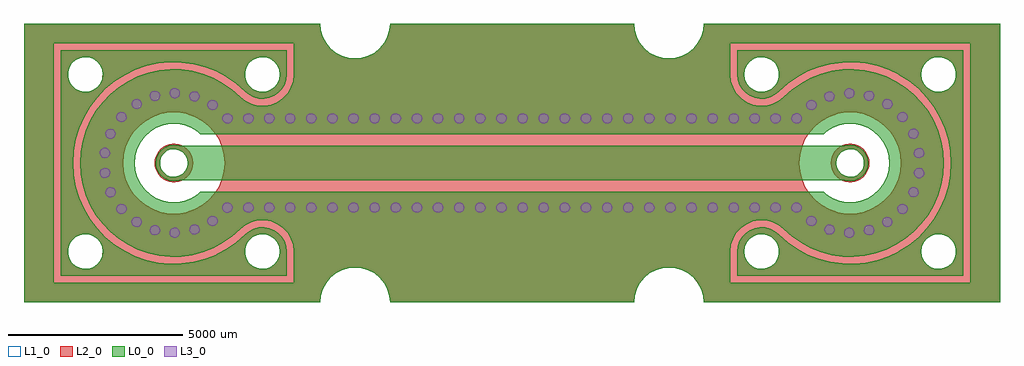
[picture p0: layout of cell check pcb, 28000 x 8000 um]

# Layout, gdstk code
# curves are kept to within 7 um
import gdstk
lib = gdstk.Library(unit=1e-6, precision=1e-09)
def P(c, l, *ps):  # polygons
    for p in ps: c.add(gdstk.Polygon(p, *l))
L0_0 = (0, 0)
L1_0 = (1, 0)
L2_0 = (2, 0)
L3_0 = (3, 0)

check_pcb = lib.new_cell('check pcb')
P(check_pcb, L0_0, [(-3576,3617),(-3669,3444),(-3793,3293),(-3944,3169),(-4117,3076),(-4305,3019),(-4500,3000),(-4695,3019),(-4883,3076),(-5056,3169),(-5207,3293),(-5331,3444),(-5424,3617),(-5481,3805),(-5500,4000),(-14000,4000),(-14000,-3440),(-13140,-3440),(-13140,3440),(-6260,3440),(-6260,2540),(-6281,2349),(-6341,2166),(-6440,2001),(-6571,1860),(-6729,1750),(-6906,1676),(-7096,1642),(-7288,1649),(-7475,1697),(-7647,1783),(-8033,2114),(-8293,2295),(-8573,2445),(-8868,2560),(-9175,2640),(-9489,2684),(-9806,2690),(-10121,2659),(-10431,2591),(-10730,2487),(-11015,2349),(-11282,2178),(-11527,1977),(-11747,1748),(-11938,1496),(-12099,1222),(-12226,932),(-12318,628),(-12373,316),(-12392,0),(-10825,0),(-10806,207),(-10749,406),(-10656,592),(-10531,758),(-10378,898),(-10201,1007),(-10008,1082),(-9804,1120),(-9596,1120),(-9392,1082),(-9199,1007),(-9022,898),(-8948,830),(8948,830),(9022,898),(9199,1007),(9392,1082),(9596,1120),(9804,1120),(10008,1082),(10201,1007),(10378,898),(10531,758),(10656,592),(10749,406),(10806,207),(10825,0),(10806,-207),(10749,-406),(10656,-592),(10531,-758),(10378,-898),(10201,-1007),(10008,-1082),(9804,-1120),(9596,-1120),(9392,-1082),(9199,-1007),(9022,-898),(8948,-830),(-8948,-830),(-9022,-898),(-9199,-1007),(-9392,-1082),(-9596,-1120),(-9804,-1120),(-10008,-1082),(-10201,-1007),(-10378,-898),(-10531,-758),(-10656,-592),(-10749,-406),(-10806,-207),(-10825,0),(-12392,0),(-12373,-316),(-12318,-628),(-12226,-932),(-12099,-1222),(-11938,-1496),(-11747,-1748),(-11527,-1977),(-11282,-2178),(-11015,-2349),(-10730,-2487),(-10431,-2591),(-10121,-2659),(-9806,-2690),(-9489,-2684),(-9175,-2640),(-8868,-2560),(-8573,-2445),(-8293,-2295),(-8033,-2114),(-7647,-1783),(-7475,-1697),(-7288,-1649),(-7096,-1642),(-6906,-1676),(-6729,-1750),(-6571,-1860),(-6440,-2001),(-6341,-2166),(-6281,-2349),(-6260,-2540),(-6260,-3440),(-14000,-3440),(-14000,-4000),(-5500,-4000),(-5481,-3805),(-5424,-3617),(-5331,-3444),(-5207,-3293),(-5056,-3169),(-4883,-3076),(-4695,-3019),(-4500,-3000),(-4305,-3019),(-4117,-3076),(-3944,-3169),(-3793,-3293),(-3669,-3444),(-3576,-3617),(-3519,-3805),(-3500,-4000),(3500,-4000),(3519,-3805),(3576,-3617),(3669,-3444),(3793,-3293),(3944,-3169),(4117,-3076),(4305,-3019),(4500,-3000),(4695,-3019),(4883,-3076),(5056,-3169),(5207,-3293),(5328,-3440),(6260,-3440),(6260,-2540),(6281,-2349),(6341,-2166),(6440,-2001),(6571,-1860),(6729,-1750),(6906,-1676),(7096,-1642),(7288,-1649),(7475,-1697),(7647,-1783),(8033,-2114),(8293,-2295),(8573,-2445),(8868,-2560),(9175,-2640),(9489,-2684),(9806,-2690),(10121,-2659),(10431,-2591),(10730,-2487),(11015,-2349),(11282,-2178),(11527,-1977),(11747,-1748),(11938,-1496),(12099,-1222),(12226,-932),(12318,-628),(12373,-316),(12392,0),(12373,316),(12318,628),(12226,932),(12099,1222),(11938,1496),(11747,1748),(11527,1977),(11282,2178),(11015,2349),(10730,2487),(10431,2591),(10121,2659),(9806,2690),(9489,2684),(9175,2640),(8868,2560),(8573,2445),(8293,2295),(8033,2114),(7647,1783),(7475,1697),(7288,1649),(7096,1642),(6906,1676),(6729,1750),(6571,1860),(6440,2001),(6341,2166),(6281,2349),(6260,2540),(6260,3440),(13140,3440),(13140,-3440),(5328,-3440),(5424,-3617),(5481,-3805),(5500,-4000),(14000,-4000),(14000,4000),(5500,4000),(5481,3805),(5424,3617),(5331,3444),(5207,3293),(5056,3169),(4883,3076),(4695,3019),(4500,3000),(4305,3019),(4117,3076),(3944,3169),(3793,3293),(3669,3444),(3576,3617),(3519,3805),(3500,4000),(-3500,4000),(-3519,3805)],
  [(6523,2249),(6600,2121),(6702,2011),(6825,1926),(6963,1868),(7110,1842),(7260,1847),(7405,1884),(7538,1951),(7910,2271),(8189,2466),(8489,2626),(8806,2751),(9136,2837),(9473,2883),(9814,2890),(10152,2856),(10485,2784),(10807,2672),(11079,2540),(11740,2540),(11759,2675),(11813,2800),(11899,2905),(12010,2984),(12138,3030),(12274,3039),(12407,3011),(12528,2948),(12628,2856),(12699,2739),(12735,2608),(12735,2472),(12699,2341),(12628,2224),(12528,2132),(12407,2069),(12274,2041),(12138,2050),(12010,2096),(11899,2175),(11813,2280),(11759,2405),(11740,2540),(11079,2540),(11400,2340),(11663,2124),(11899,1878),(12105,1607),(12277,1313),(12413,1001),(12512,675),(12572,340),(12592,0),(12572,-340),(12512,-675),(12413,-1001),(12277,-1313),(12105,-1607),(11899,-1878),(11663,-2124),(11400,-2340),(11078,-2540),(11740,-2540),(11759,-2405),(11813,-2280),(11899,-2175),(12010,-2096),(12138,-2050),(12274,-2041),(12407,-2069),(12528,-2132),(12628,-2224),(12699,-2341),(12735,-2472),(12735,-2608),(12699,-2739),(12628,-2856),(12528,-2948),(12407,-3011),(12274,-3039),(12138,-3030),(12010,-2984),(11899,-2905),(11813,-2800),(11759,-2675),(11740,-2540),(11078,-2540),(10807,-2672),(10485,-2784),(10152,-2856),(9814,-2890),(9473,-2883),(9136,-2837),(8806,-2751),(8489,-2626),(8189,-2466),(7910,-2271),(7538,-1951),(7405,-1884),(7260,-1847),(7110,-1842),(6963,-1868),(6825,-1926),(6702,-2011),(6600,-2121),(6523,-2249),(6476,-2391),(6460,-2540),(6660,-2540),(6679,-2405),(6733,-2280),(6819,-2175),(6930,-2096),(7058,-2050),(7194,-2041),(7327,-2069),(7448,-2132),(7548,-2224),(7619,-2341),(7655,-2472),(7655,-2608),(7619,-2739),(7548,-2856),(7448,-2948),(7327,-3011),(7194,-3039),(7058,-3030),(6930,-2984),(6819,-2905),(6733,-2800),(6679,-2675),(6660,-2540),(6460,-2540),(6460,-3240),(12940,-3240),(12940,3240),(6460,3240),(6460,2540),(6660,2540),(6679,2675),(6733,2800),(6819,2905),(6930,2984),(7058,3030),(7194,3039),(7327,3011),(7448,2948),(7548,2856),(7619,2739),(7655,2608),(7655,2472),(7619,2341),(7548,2224),(7448,2132),(7327,2069),(7194,2041),(7058,2050),(6930,2096),(6819,2175),(6733,2280),(6679,2405),(6660,2540),(6460,2540),(6476,2391)],
  [(-7910,2271),(-7538,1951),(-7405,1884),(-7260,1847),(-7110,1842),(-6963,1868),(-6825,1926),(-6702,2011),(-6600,2121),(-6523,2249),(-6476,2391),(-6460,2540),(-6460,3240),(-12940,3240),(-12940,2472),(-12735,2472),(-12735,2608),(-12699,2739),(-12628,2856),(-12528,2948),(-12407,3011),(-12274,3039),(-12138,3030),(-12010,2984),(-11899,2905),(-11813,2800),(-11759,2675),(-11740,2540),(-11759,2405),(-11813,2280),(-11899,2175),(-12010,2096),(-12138,2050),(-12274,2041),(-12407,2069),(-12528,2132),(-12628,2224),(-12699,2341),(-12735,2472),(-12940,2472),(-12940,-2608),(-12735,-2608),(-12735,-2472),(-12699,-2341),(-12628,-2224),(-12528,-2132),(-12407,-2069),(-12274,-2041),(-12138,-2050),(-12010,-2096),(-11899,-2175),(-11813,-2280),(-11759,-2405),(-11740,-2540),(-11759,-2675),(-11813,-2800),(-11899,-2905),(-12010,-2984),(-12138,-3030),(-12274,-3039),(-12407,-3011),(-12528,-2948),(-12628,-2856),(-12699,-2739),(-12735,-2608),(-12940,-2608),(-12940,-3240),(-6460,-3240),(-6460,-2540),(-6476,-2391),(-6523,-2249),(-6600,-2121),(-6702,-2011),(-6825,-1926),(-6963,-1868),(-7110,-1842),(-7260,-1847),(-7405,-1884),(-7538,-1951),(-7910,-2271),(-8189,-2466),(-8456,-2608),(-7655,-2608),(-7655,-2472),(-7619,-2341),(-7548,-2224),(-7448,-2132),(-7327,-2069),(-7194,-2041),(-7058,-2050),(-6930,-2096),(-6819,-2175),(-6733,-2280),(-6679,-2405),(-6660,-2540),(-6679,-2675),(-6733,-2800),(-6819,-2905),(-6930,-2984),(-7058,-3030),(-7194,-3039),(-7327,-3011),(-7448,-2948),(-7548,-2856),(-7619,-2739),(-7655,-2608),(-8456,-2608),(-8806,-2751),(-9136,-2837),(-9473,-2883),(-9814,-2890),(-10152,-2856),(-10485,-2784),(-10807,-2672),(-11113,-2523),(-11400,-2340),(-11663,-2124),(-11899,-1878),(-12105,-1607),(-12277,-1313),(-12413,-1001),(-12512,-675),(-12572,-340),(-12592,0),(-12572,340),(-12512,675),(-12413,1001),(-12277,1313),(-12105,1607),(-11899,1878),(-11663,2124),(-11400,2340),(-11113,2523),(-10807,2672),(-10485,2784),(-10152,2856),(-9814,2890),(-9473,2883),(-9136,2837),(-8806,2751),(-8489,2626),(-8200,2472),(-7655,2472),(-7655,2608),(-7619,2739),(-7548,2856),(-7448,2948),(-7327,3011),(-7194,3039),(-7058,3030),(-6930,2984),(-6819,2905),(-6733,2800),(-6679,2675),(-6660,2540),(-6679,2405),(-6733,2280),(-6819,2175),(-6930,2096),(-7058,2050),(-7194,2041),(-7327,2069),(-7448,2132),(-7548,2224),(-7619,2341),(-7655,2472),(-8200,2472)],
  [(-10155,-263),(-10071,-371),(-9963,-455),(-9836,-507),(-9700,-525),(-9547,-500),(9547,-500),(9700,-525),(9836,-507),(9963,-455),(10071,-371),(10155,-263),(10207,-136),(10225,0),(10207,136),(10155,263),(10071,371),(9963,455),(9836,507),(9700,525),(9547,500),(-9547,500),(-9700,525),(-9836,507),(-9963,455),(-10071,371),(-10155,263),(-10207,136),(-10225,0),(-10217,-60),(-10096,-60),(-10096,60),(-10060,174),(-9993,272),(-9900,346),(-9789,390),(-9670,399),(-9554,372),(-9451,313),(-9370,225),(-9318,118),(-9300,0),(9300,0),(9318,118),(9370,225),(9451,313),(9554,372),(9670,399),(9789,390),(9900,346),(9993,272),(10060,174),(10096,60),(10096,-60),(10060,-174),(9993,-272),(9900,-346),(9789,-390),(9670,-399),(9554,-372),(9451,-313),(9370,-225),(9318,-118),(9300,0),(-9300,0),(-9318,-118),(-9370,-225),(-9451,-313),(-9554,-372),(-9670,-399),(-9789,-390),(-9900,-346),(-9993,-272),(-10060,-174),(-10096,-60),(-10217,-60),(-10207,-136)])
P(check_pcb, L1_0, [(3500,-4000),(3519,-3805),(3576,-3617),(3669,-3444),(3793,-3293),(3944,-3169),(4117,-3076),(4305,-3019),(4500,-3000),(4695,-3019),(4883,-3076),(5056,-3169),(5207,-3293),(5331,-3444),(5424,-3617),(5481,-3805),(5500,-4000),(14000,-4000),(14000,4000),(5500,4000),(5481,3805),(5424,3617),(5331,3444),(5207,3293),(5056,3169),(4883,3076),(4695,3019),(4500,3000),(4305,3019),(4117,3076),(3944,3169),(3793,3293),(3669,3444),(3576,3617),(3519,3805),(3500,4000),(-3500,4000),(-3519,3805),(-3576,3617),(-3669,3444),(-3793,3293),(-3944,3169),(-4117,3076),(-4305,3019),(-4500,3000),(-4695,3019),(-4883,3076),(-5056,3169),(-5207,3293),(-5331,3444),(-5424,3617),(-5481,3805),(-5500,4000),(-14000,4000),(-14000,2472),(-12735,2472),(-12735,2608),(-12699,2739),(-12628,2856),(-12528,2948),(-12407,3011),(-12274,3039),(-12138,3030),(-12010,2984),(-11899,2905),(-11813,2800),(-11759,2675),(-11740,2540),(-11750,2472),(-7655,2472),(-7655,2608),(-7619,2739),(-7548,2856),(-7448,2948),(-7327,3011),(-7194,3039),(-7058,3030),(-6930,2984),(-6819,2905),(-6733,2800),(-6679,2675),(-6660,2540),(6660,2540),(6679,2675),(6733,2800),(6819,2905),(6930,2984),(7058,3030),(7194,3039),(7327,3011),(7448,2948),(7548,2856),(7619,2739),(7655,2608),(7655,2540),(11740,2540),(11759,2675),(11813,2800),(11899,2905),(12010,2984),(12138,3030),(12274,3039),(12407,3011),(12528,2948),(12628,2856),(12699,2739),(12735,2608),(12735,2472),(12699,2341),(12628,2224),(12528,2132),(12407,2069),(12274,2041),(12138,2050),(12010,2096),(11899,2175),(11813,2280),(11759,2405),(11740,2540),(7655,2540),(7655,2472),(7619,2341),(7548,2224),(7448,2132),(7327,2069),(7194,2041),(7058,2050),(6930,2096),(6819,2175),(6733,2280),(6679,2405),(6660,2540),(-6660,2540),(-6679,2405),(-6733,2280),(-6819,2175),(-6930,2096),(-7058,2050),(-7194,2041),(-7327,2069),(-7448,2132),(-7548,2224),(-7619,2341),(-7655,2472),(-11750,2472),(-11759,2405),(-11813,2280),(-11899,2175),(-12010,2096),(-12138,2050),(-12274,2041),(-12407,2069),(-12528,2132),(-12628,2224),(-12699,2341),(-12735,2472),(-14000,2472),(-14000,-60),(-10096,-60),(-10096,60),(-10060,174),(-9993,272),(-9900,346),(-9789,390),(-9670,399),(-9554,372),(-9451,313),(-9370,225),(-9318,118),(-9300,0),(9300,0),(9318,118),(9370,225),(9451,313),(9554,372),(9670,399),(9789,390),(9900,346),(9993,272),(10060,174),(10096,60),(10096,-60),(10060,-174),(9993,-272),(9900,-346),(9789,-390),(9670,-399),(9554,-372),(9451,-313),(9370,-225),(9318,-118),(9300,0),(-9300,0),(-9318,-118),(-9370,-225),(-9451,-313),(-9554,-372),(-9670,-399),(-9789,-390),(-9900,-346),(-9993,-272),(-10060,-174),(-10096,-60),(-14000,-60),(-14000,-2608),(-12735,-2608),(-12735,-2472),(-12699,-2341),(-12628,-2224),(-12528,-2132),(-12407,-2069),(-12274,-2041),(-12138,-2050),(-12010,-2096),(-11899,-2175),(-11813,-2280),(-11759,-2405),(-11740,-2540),(-11750,-2608),(-7655,-2608),(-7655,-2472),(-7619,-2341),(-7548,-2224),(-7448,-2132),(-7327,-2069),(-7194,-2041),(-7058,-2050),(-6930,-2096),(-6819,-2175),(-6733,-2280),(-6679,-2405),(-6660,-2540),(6660,-2540),(6679,-2405),(6733,-2280),(6819,-2175),(6930,-2096),(7058,-2050),(7194,-2041),(7327,-2069),(7448,-2132),(7548,-2224),(7619,-2341),(7655,-2472),(7655,-2540),(11740,-2540),(11759,-2405),(11813,-2280),(11899,-2175),(12010,-2096),(12138,-2050),(12274,-2041),(12407,-2069),(12528,-2132),(12628,-2224),(12699,-2341),(12735,-2472),(12735,-2608),(12699,-2739),(12628,-2856),(12528,-2948),(12407,-3011),(12274,-3039),(12138,-3030),(12010,-2984),(11899,-2905),(11813,-2800),(11759,-2675),(11740,-2540),(7655,-2540),(7655,-2608),(7619,-2739),(7548,-2856),(7448,-2948),(7327,-3011),(7194,-3039),(7058,-3030),(6930,-2984),(6819,-2905),(6733,-2800),(6679,-2675),(6660,-2540),(-6660,-2540),(-6679,-2675),(-6733,-2800),(-6819,-2905),(-6930,-2984),(-7058,-3030),(-7194,-3039),(-7327,-3011),(-7448,-2948),(-7548,-2856),(-7619,-2739),(-7655,-2608),(-11750,-2608),(-11759,-2675),(-11813,-2800),(-11899,-2905),(-12010,-2984),(-12138,-3030),(-12274,-3039),(-12407,-3011),(-12528,-2948),(-12628,-2856),(-12699,-2739),(-12735,-2608),(-14000,-2608),(-14000,-4000),(-5500,-4000),(-5481,-3805),(-5424,-3617),(-5331,-3444),(-5207,-3293),(-5056,-3169),(-4883,-3076),(-4695,-3019),(-4500,-3000),(-4305,-3019),(-4117,-3076),(-3944,-3169),(-3793,-3293),(-3669,-3444),(-3576,-3617),(-3519,-3805),(-3500,-4000)])
P(check_pcb, L2_0, [(3500,-4000),(3519,-3805),(3576,-3617),(3669,-3444),(3793,-3293),(3944,-3169),(4117,-3076),(4305,-3019),(4500,-3000),(4695,-3019),(4883,-3076),(5056,-3169),(5207,-3293),(5331,-3444),(5424,-3617),(5481,-3805),(5500,-4000),(14000,-4000),(14000,4000),(5500,4000),(5481,3805),(5424,3617),(5331,3444),(5207,3293),(5056,3169),(4883,3076),(4695,3019),(4500,3000),(4305,3019),(4117,3076),(3944,3169),(3793,3293),(3669,3444),(3576,3617),(3519,3805),(3500,4000),(-3500,4000),(-3519,3805),(-3576,3617),(-3669,3444),(-3793,3293),(-3944,3169),(-4117,3076),(-4305,3019),(-4500,3000),(-4695,3019),(-4883,3076),(-5056,3169),(-5207,3293),(-5331,3444),(-5424,3617),(-5481,3805),(-5500,4000),(-14000,4000),(-14000,2472),(-12735,2472),(-12735,2608),(-12699,2739),(-12628,2856),(-12528,2948),(-12407,3011),(-12274,3039),(-12138,3030),(-12010,2984),(-11899,2905),(-11813,2800),(-11759,2675),(-11740,2540),(-11750,2472),(-7655,2472),(-7655,2608),(-7619,2739),(-7548,2856),(-7448,2948),(-7327,3011),(-7194,3039),(-7058,3030),(-6930,2984),(-6819,2905),(-6733,2800),(-6679,2675),(-6660,2540),(6660,2540),(6679,2675),(6733,2800),(6819,2905),(6930,2984),(7058,3030),(7194,3039),(7327,3011),(7448,2948),(7548,2856),(7619,2739),(7655,2608),(7655,2540),(11740,2540),(11759,2675),(11813,2800),(11899,2905),(12010,2984),(12138,3030),(12274,3039),(12407,3011),(12528,2948),(12628,2856),(12699,2739),(12735,2608),(12735,2472),(12699,2341),(12628,2224),(12528,2132),(12407,2069),(12274,2041),(12138,2050),(12010,2096),(11899,2175),(11813,2280),(11759,2405),(11740,2540),(7655,2540),(7655,2472),(7619,2341),(7548,2224),(7448,2132),(7327,2069),(7194,2041),(7058,2050),(6930,2096),(6819,2175),(6733,2280),(6679,2405),(6660,2540),(-6660,2540),(-6679,2405),(-6733,2280),(-6819,2175),(-6930,2096),(-7058,2050),(-7194,2041),(-7327,2069),(-7448,2132),(-7548,2224),(-7619,2341),(-7655,2472),(-11750,2472),(-11759,2405),(-11813,2280),(-11899,2175),(-12010,2096),(-12138,2050),(-12274,2041),(-12407,2069),(-12528,2132),(-12628,2224),(-12699,2341),(-12735,2472),(-14000,2472),(-14000,0),(-11155,0),(-11135,239),(-11076,472),(-10980,693),(-10848,894),(-10685,1070),(-10496,1218),(-10284,1332),(-10057,1410),(-9820,1450),(-9580,1450),(-9343,1410),(-9116,1332),(-8904,1218),(-8715,1070),(-8552,894),(-8420,693),(-8324,472),(-8265,239),(-8245,0),(8245,0),(8265,239),(8324,472),(8420,693),(8552,894),(8715,1070),(8904,1218),(9116,1332),(9343,1410),(9580,1450),(9820,1450),(10057,1410),(10284,1332),(10496,1218),(10685,1070),(10848,894),(10980,693),(11076,472),(11135,239),(11155,0),(11135,-239),(11076,-472),(10980,-693),(10848,-894),(10685,-1070),(10496,-1218),(10284,-1332),(10057,-1410),(9820,-1450),(9580,-1450),(9343,-1410),(9116,-1332),(8904,-1218),(8715,-1070),(8552,-894),(8420,-693),(8324,-472),(8265,-239),(8245,0),(-8245,0),(-8265,-239),(-8324,-472),(-8420,-693),(-8552,-894),(-8715,-1070),(-8904,-1218),(-9116,-1332),(-9343,-1410),(-9580,-1450),(-9820,-1450),(-10057,-1410),(-10284,-1332),(-10496,-1218),(-10685,-1070),(-10848,-894),(-10980,-693),(-11076,-472),(-11135,-239),(-11155,0),(-14000,0),(-14000,-2608),(-12735,-2608),(-12735,-2472),(-12699,-2341),(-12628,-2224),(-12528,-2132),(-12407,-2069),(-12274,-2041),(-12138,-2050),(-12010,-2096),(-11899,-2175),(-11813,-2280),(-11759,-2405),(-11740,-2540),(-11750,-2608),(-7655,-2608),(-7655,-2472),(-7619,-2341),(-7548,-2224),(-7448,-2132),(-7327,-2069),(-7194,-2041),(-7058,-2050),(-6930,-2096),(-6819,-2175),(-6733,-2280),(-6679,-2405),(-6660,-2540),(6660,-2540),(6679,-2405),(6733,-2280),(6819,-2175),(6930,-2096),(7058,-2050),(7194,-2041),(7327,-2069),(7448,-2132),(7548,-2224),(7619,-2341),(7655,-2472),(7655,-2540),(11740,-2540),(11759,-2405),(11813,-2280),(11899,-2175),(12010,-2096),(12138,-2050),(12274,-2041),(12407,-2069),(12528,-2132),(12628,-2224),(12699,-2341),(12735,-2472),(12735,-2608),(12699,-2739),(12628,-2856),(12528,-2948),(12407,-3011),(12274,-3039),(12138,-3030),(12010,-2984),(11899,-2905),(11813,-2800),(11759,-2675),(11740,-2540),(7655,-2540),(7655,-2608),(7619,-2739),(7548,-2856),(7448,-2948),(7327,-3011),(7194,-3039),(7058,-3030),(6930,-2984),(6819,-2905),(6733,-2800),(6679,-2675),(6660,-2540),(-6660,-2540),(-6679,-2675),(-6733,-2800),(-6819,-2905),(-6930,-2984),(-7058,-3030),(-7194,-3039),(-7327,-3011),(-7448,-2948),(-7548,-2856),(-7619,-2739),(-7655,-2608),(-11750,-2608),(-11759,-2675),(-11813,-2800),(-11899,-2905),(-12010,-2984),(-12138,-3030),(-12274,-3039),(-12407,-3011),(-12528,-2948),(-12628,-2856),(-12699,-2739),(-12735,-2608),(-14000,-2608),(-14000,-4000),(-5500,-4000),(-5481,-3805),(-5424,-3617),(-5331,-3444),(-5207,-3293),(-5056,-3169),(-4883,-3076),(-4695,-3019),(-4500,-3000),(-4305,-3019),(-4117,-3076),(-3944,-3169),(-3793,-3293),(-3669,-3444),(-3576,-3617),(-3519,-3805),(-3500,-4000)],
  [(9180,-179),(9216,-262),(9266,-338),(9327,-405),(9479,-504),(9565,-533),(9655,-548),(9745,-548),(9835,-533),(9921,-504),(10073,-405),(10134,-338),(10184,-262),(10220,-179),(10242,-91),(10250,0),(10242,91),(10220,179),(10184,262),(10134,338),(10073,405),(9921,504),(9835,533),(9745,548),(9655,548),(9565,533),(9479,504),(9327,405),(9266,338),(9216,262),(9180,179),(9158,91),(9150,0),(9300,0),(9318,118),(9370,225),(9451,313),(9554,372),(9670,399),(9789,390),(9900,346),(9993,272),(10060,174),(10096,60),(10096,-60),(10060,-174),(9993,-272),(9900,-346),(9789,-390),(9670,-399),(9554,-372),(9451,-313),(9370,-225),(9318,-118),(9300,0),(9150,0),(9158,-91)],
  [(-10220,-179),(-10184,-262),(-10134,-338),(-10073,-405),(-9921,-504),(-9835,-533),(-9745,-548),(-9655,-548),(-9565,-533),(-9479,-504),(-9327,-405),(-9266,-338),(-9216,-262),(-9180,-179),(-9158,-91),(-9150,0),(-9158,91),(-9180,179),(-9216,262),(-9266,338),(-9327,405),(-9479,504),(-9565,533),(-9655,548),(-9745,548),(-9835,533),(-9921,504),(-10073,405),(-10134,338),(-10184,262),(-10220,179),(-10242,91),(-10244,-60),(-10096,-60),(-10096,60),(-10060,174),(-9993,272),(-9900,346),(-9789,390),(-9670,399),(-9554,372),(-9451,313),(-9370,225),(-9318,118),(-9300,0),(-9318,-118),(-9370,-225),(-9451,-313),(-9554,-372),(-9670,-399),(-9789,-390),(-9900,-346),(-9993,-272),(-10060,-174),(-10096,-60),(-10244,-60)])
P(check_pcb, L3_0, [(9750,1870),(9802,1920),(9824,1988),(9813,2059),(9769,2116),(9704,2147),(9633,2144),(9571,2108),(9532,2047),(9527,1975),(9555,1909),(9611,1864),(9681,1850)],
  [(-9603,1868),(-9550,1917),(-9526,1984),(-9535,2056),(-9577,2114),(-9641,2146),(-9713,2145),(-9776,2110),(-9816,2051),(-9823,1979),(-9797,1912),(-9742,1866),(-9672,1850)],
  [(10343,1812),(10384,1871),(10393,1942),(10367,2010),(10314,2057),(10244,2075),(10174,2058),(10120,2010),(10095,1943),(10103,1872),(10144,1813),(10207,1779),(10279,1779)],
  [(-10198,1782),(-10137,1819),(-10100,1881),(-10096,1952),(-10126,2018),(-10183,2062),(-10253,2074),(-10322,2053),(-10372,2002),(-10393,1933),(-10380,1863),(-10336,1806),(-10270,1777)],
  [(-9012,1795),(-8969,1853),(-8959,1924),(-8982,1992),(-9035,2041),(-9104,2060),(-9174,2045),(-9229,1999),(-9256,1933),(-9250,1861),(-9211,1801),(-9148,1766),(-9076,1764)],
  [(9157,1769),(9217,1807),(9252,1870),(9255,1942),(9223,2006),(9166,2049),(9095,2060),(9027,2036),(8977,1984),(8958,1915),(8973,1845),(9019,1790),(9085,1762)],
  [(-10684,1567),(-10636,1620),(-10618,1690),(-10634,1759),(-10681,1814),(-10748,1840),(-10819,1832),(-10879,1792),(-10913,1729),(-10914,1657),(-10881,1593),(-10822,1551),(-10751,1542)],
  [(10831,1555),(10887,1600),(10916,1666),(10910,1737),(10873,1798),(10811,1835),(10739,1838),(10674,1808),(10630,1751),(10618,1680),(10640,1612),(10692,1562),(10760,1541)],
  [(8677,1541),(8724,1596),(8740,1666),(8722,1735),(8673,1788),(8606,1813),(8535,1803),(8476,1761),(8444,1697),(8445,1626),(8479,1563),(8539,1523),(8610,1515)],
  [(-8530,1526),(-8473,1569),(-8443,1635),(-8446,1706),(-8482,1768),(-8543,1806),(-8615,1812),(-8681,1783),(-8726,1727),(-8740,1657),(-8719,1588),(-8669,1536),(-8601,1514)],
  [(11292,1197),(11338,1252),(11354,1322),(11335,1391),(11286,1444),(11218,1468),(11147,1457),(11089,1415),(11057,1351),(11059,1279),(11094,1216),(11154,1177),(11226,1170)],
  [(-11146,1180),(-11088,1223),(-11057,1288),(-11060,1359),(-11095,1422),(-11156,1460),(-11227,1467),(-11294,1439),(-11339,1383),(-11354,1313),(-11334,1244),(-11285,1192),(-11217,1169)],
  [(-8078,1157),(-8030,1210),(-8013,1280),(-8030,1350),(-8078,1403),(-8145,1429),(-8216,1420),(-8276,1379),(-8309,1316),(-8309,1244),(-8276,1181),(-8216,1140),(-8145,1131)],
  [(-7478,1157),(-7430,1210),(-7413,1280),(-7430,1350),(-7478,1403),(-7545,1429),(-7616,1420),(-7676,1379),(-7709,1316),(-7709,1244),(-7676,1181),(-7616,1140),(-7545,1131)],
  [(-6878,1157),(-6830,1210),(-6813,1280),(-6830,1350),(-6878,1403),(-6945,1429),(-7016,1420),(-7076,1379),(-7109,1316),(-7109,1244),(-7076,1181),(-7016,1140),(-6945,1131)],
  [(-6278,1157),(-6230,1210),(-6213,1280),(-6230,1350),(-6278,1403),(-6345,1429),(-6416,1420),(-6476,1379),(-6509,1316),(-6509,1244),(-6476,1181),(-6416,1140),(-6345,1131)],
  [(7616,1140),(7676,1181),(7709,1244),(7709,1316),(7676,1379),(7616,1420),(7545,1429),(7478,1403),(7430,1350),(7413,1280),(7430,1210),(7478,1157),(7545,1131)],
  [(7016,1140),(7076,1181),(7109,1244),(7109,1316),(7076,1379),(7016,1420),(6945,1429),(6878,1403),(6830,1350),(6813,1280),(6830,1210),(6878,1157),(6945,1131)],
  [(6416,1140),(6476,1181),(6509,1244),(6509,1316),(6476,1379),(6416,1420),(6345,1429),(6278,1403),(6230,1350),(6213,1280),(6230,1210),(6278,1157),(6345,1131)],
  [(-4460,1157),(-4412,1210),(-4395,1280),(-4412,1350),(-4460,1403),(-4527,1429),(-4598,1420),(-4657,1379),(-4691,1316),(-4691,1244),(-4657,1181),(-4598,1140),(-4527,1131)],
  [(3419,1157),(3466,1210),(3484,1280),(3466,1350),(3419,1403),(3352,1429),(3280,1420),(3221,1379),(3188,1316),(3188,1244),(3221,1181),(3280,1140),(3352,1131)],
  [(4025,1157),(4072,1210),(4090,1280),(4072,1350),(4025,1403),(3958,1429),(3886,1420),(3827,1379),(3794,1316),(3794,1244),(3827,1181),(3886,1140),(3958,1131)],
  [(4631,1157),(4678,1210),(4696,1280),(4678,1350),(4631,1403),(4564,1429),(4492,1420),(4433,1379),(4400,1316),(4400,1244),(4433,1181),(4492,1140),(4564,1131)],
  [(5237,1157),(5284,1210),(5302,1280),(5284,1350),(5237,1403),(5170,1429),(5098,1420),(5039,1379),(5006,1316),(5006,1244),(5039,1181),(5098,1140),(5170,1131)],
  [(5843,1157),(5891,1210),(5908,1280),(5891,1350),(5843,1403),(5776,1429),(5705,1420),(5645,1379),(5612,1316),(5612,1244),(5645,1181),(5705,1140),(5776,1131)],
  [(2207,1157),(2254,1210),(2271,1280),(2254,1350),(2207,1403),(2139,1429),(2068,1420),(2009,1379),(1976,1316),(1976,1244),(2009,1181),(2068,1140),(2139,1131)],
  [(-3248,1157),(-3200,1210),(-3183,1280),(-3200,1350),(-3248,1403),(-3315,1429),(-3386,1420),(-3445,1379),(-3479,1316),(-3479,1244),(-3445,1181),(-3386,1140),(-3315,1131)],
  [(-3854,1157),(-3806,1210),(-3789,1280),(-3806,1350),(-3854,1403),(-3921,1429),(-3992,1420),(-4051,1379),(-4085,1316),(-4085,1244),(-4051,1181),(-3992,1140),(-3921,1131)],
  [(-5066,1157),(-5018,1210),(-5001,1280),(-5018,1350),(-5066,1403),(-5133,1429),(-5204,1420),(-5263,1379),(-5297,1316),(-5297,1244),(-5263,1181),(-5204,1140),(-5133,1131)],
  [(-5672,1157),(-5624,1210),(-5607,1280),(-5624,1350),(-5672,1403),(-5739,1429),(-5810,1420),(-5869,1379),(-5903,1316),(-5903,1244),(-5869,1181),(-5810,1140),(-5739,1131)],
  [(-1430,1157),(-1382,1210),(-1365,1280),(-1382,1350),(-1430,1403),(-1497,1429),(-1568,1420),(-1627,1379),(-1661,1316),(-1661,1244),(-1627,1181),(-1568,1140),(-1497,1131)],
  [(-824,1157),(-776,1210),(-759,1280),(-776,1350),(-824,1403),(-891,1429),(-962,1420),(-1021,1379),(-1054,1316),(-1054,1244),(-1021,1181),(-962,1140),(-891,1131)],
  [(-2036,1157),(-1988,1210),(-1971,1280),(-1988,1350),(-2036,1403),(-2103,1429),(-2174,1420),(-2233,1379),(-2267,1316),(-2267,1244),(-2233,1181),(-2174,1140),(-2103,1131)],
  [(-2642,1157),(-2594,1210),(-2577,1280),(-2594,1350),(-2642,1403),(-2709,1429),(-2780,1420),(-2839,1379),(-2873,1316),(-2873,1244),(-2839,1181),(-2780,1140),(-2709,1131)],
  [(-218,1157),(-170,1210),(-153,1280),(-170,1350),(-218,1403),(-285,1429),(-356,1420),(-415,1379),(-448,1316),(-448,1244),(-415,1181),(-356,1140),(-285,1131)],
  [(388,1157),(436,1210),(453,1280),(436,1350),(388,1403),(321,1429),(250,1420),(191,1379),(158,1316),(158,1244),(191,1181),(250,1140),(321,1131)],
  [(995,1157),(1042,1210),(1059,1280),(1042,1350),(995,1403),(927,1429),(856,1420),(797,1379),(764,1316),(764,1244),(797,1181),(856,1140),(927,1131)],
  [(1601,1157),(1648,1210),(1665,1280),(1648,1350),(1601,1403),(1533,1429),(1462,1420),(1403,1379),(1370,1316),(1370,1244),(1403,1181),(1462,1140),(1533,1131)],
  [(2813,1157),(2860,1210),(2877,1280),(2860,1350),(2813,1403),(2746,1429),(2674,1420),(2615,1379),(2582,1316),(2582,1244),(2615,1181),(2674,1140),(2746,1131)],
  [(8225,1143),(8281,1188),(8311,1253),(8306,1325),(8269,1386),(8208,1423),(8136,1428),(8071,1398),(8026,1341),(8014,1271),(8035,1202),(8086,1152),(8154,1130)],
  [(-11421,721),(-11378,778),(-11367,849),(-11390,917),(-11442,967),(-11511,987),(-11581,973),(-11636,927),(-11664,861),(-11659,789),(-11620,729),(-11558,693),(-11486,690)],
  [(11567,696),(11627,735),(11661,798),(11663,870),(11631,934),(11573,976),(11501,986),(11434,962),(11385,910),(11366,840),(11382,770),(11429,715),(11495,689)],
  [(11756,158),(11807,208),(11829,277),(11817,348),(11773,404),(11707,434),(11636,430),(11574,394),(11536,333),(11532,261),(11561,195),(11617,151),(11687,137)],
  [(-11609,155),(-11555,203),(-11530,270),(-11539,341),(-11581,400),(-11644,433),(-11716,432),(-11780,398),(-11820,339),(-11828,268),(-11802,201),(-11748,154),(-11678,137)],
  [(-11636,-430),(-11574,-394),(-11536,-333),(-11532,-261),(-11561,-195),(-11617,-151),(-11687,-137),(-11756,-158),(-11807,-208),(-11829,-277),(-11817,-348),(-11773,-404),(-11707,-434)],
  [(11716,-432),(11780,-398),(11820,-339),(11828,-268),(11802,-201),(11748,-154),(11678,-137),(11609,-155),(11555,-203),(11530,-270),(11539,-341),(11581,-400),(11644,-433)],
  [(-11434,-962),(-11385,-910),(-11366,-840),(-11382,-770),(-11429,-715),(-11495,-689),(-11567,-696),(-11627,-735),(-11661,-798),(-11663,-870),(-11631,-934),(-11573,-976),(-11501,-986)],
  [(11581,-973),(11636,-927),(11664,-861),(11659,-789),(11620,-729),(11558,-693),(11486,-690),(11421,-721),(11378,-778),(11367,-849),(11390,-917),(11442,-967),(11511,-987)],
  [(-8071,-1398),(-8026,-1341),(-8014,-1271),(-8035,-1202),(-8086,-1152),(-8154,-1130),(-8225,-1143),(-8281,-1188),(-8311,-1253),(-8306,-1325),(-8269,-1386),(-8208,-1423),(-8136,-1428)],
  [(7016,-1420),(7076,-1379),(7109,-1316),(7109,-1244),(7076,-1181),(7016,-1140),(6945,-1131),(6878,-1157),(6830,-1210),(6813,-1280),(6830,-1350),(6878,-1403),(6945,-1429)],
  [(8216,-1420),(8276,-1379),(8309,-1316),(8309,-1244),(8276,-1181),(8216,-1140),(8145,-1131),(8078,-1157),(8030,-1210),(8013,-1280),(8030,-1350),(8078,-1403),(8145,-1429)],
  [(6416,-1420),(6476,-1379),(6509,-1316),(6509,-1244),(6476,-1181),(6416,-1140),(6345,-1131),(6278,-1157),(6230,-1210),(6213,-1280),(6230,-1350),(6278,-1403),(6345,-1429)],
  [(-7478,-1403),(-7430,-1350),(-7413,-1280),(-7430,-1210),(-7478,-1157),(-7545,-1131),(-7616,-1140),(-7676,-1181),(-7709,-1244),(-7709,-1316),(-7676,-1379),(-7616,-1420),(-7545,-1429)],
  [(-6878,-1403),(-6830,-1350),(-6813,-1280),(-6830,-1210),(-6878,-1157),(-6945,-1131),(-7016,-1140),(-7076,-1181),(-7109,-1244),(-7109,-1316),(-7076,-1379),(-7016,-1420),(-6945,-1429)],
  [(-6278,-1403),(-6230,-1350),(-6213,-1280),(-6230,-1210),(-6278,-1157),(-6345,-1131),(-6416,-1140),(-6476,-1181),(-6509,-1244),(-6509,-1316),(-6476,-1379),(-6416,-1420),(-6345,-1429)],
  [(7616,-1420),(7676,-1379),(7709,-1316),(7709,-1244),(7676,-1181),(7616,-1140),(7545,-1131),(7478,-1157),(7430,-1210),(7413,-1280),(7430,-1350),(7478,-1403),(7545,-1429)],
  [(-218,-1403),(-170,-1350),(-153,-1280),(-170,-1210),(-218,-1157),(-285,-1131),(-356,-1140),(-415,-1181),(-448,-1244),(-448,-1316),(-415,-1379),(-356,-1420),(-285,-1429)],
  [(388,-1403),(436,-1350),(453,-1280),(436,-1210),(388,-1157),(321,-1131),(250,-1140),(191,-1181),(158,-1244),(158,-1316),(191,-1379),(250,-1420),(321,-1429)],
  [(995,-1403),(1042,-1350),(1059,-1280),(1042,-1210),(995,-1157),(927,-1131),(856,-1140),(797,-1181),(764,-1244),(764,-1316),(797,-1379),(856,-1420),(927,-1429)],
  [(1601,-1403),(1648,-1350),(1665,-1280),(1648,-1210),(1601,-1157),(1533,-1131),(1462,-1140),(1403,-1181),(1370,-1244),(1370,-1316),(1403,-1379),(1462,-1420),(1533,-1429)],
  [(2207,-1403),(2254,-1350),(2271,-1280),(2254,-1210),(2207,-1157),(2139,-1131),(2068,-1140),(2009,-1181),(1976,-1244),(1976,-1316),(2009,-1379),(2068,-1420),(2139,-1429)],
  [(2813,-1403),(2860,-1350),(2877,-1280),(2860,-1210),(2813,-1157),(2746,-1131),(2674,-1140),(2615,-1181),(2582,-1244),(2582,-1316),(2615,-1379),(2674,-1420),(2746,-1429)],
  [(3419,-1403),(3466,-1350),(3484,-1280),(3466,-1210),(3419,-1157),(3352,-1131),(3280,-1140),(3221,-1181),(3188,-1244),(3188,-1316),(3221,-1379),(3280,-1420),(3352,-1429)],
  [(4025,-1403),(4072,-1350),(4090,-1280),(4072,-1210),(4025,-1157),(3958,-1131),(3886,-1140),(3827,-1181),(3794,-1244),(3794,-1316),(3827,-1379),(3886,-1420),(3958,-1429)],
  [(4631,-1403),(4678,-1350),(4696,-1280),(4678,-1210),(4631,-1157),(4564,-1131),(4492,-1140),(4433,-1181),(4400,-1244),(4400,-1316),(4433,-1379),(4492,-1420),(4564,-1429)],
  [(5237,-1403),(5284,-1350),(5302,-1280),(5284,-1210),(5237,-1157),(5170,-1131),(5098,-1140),(5039,-1181),(5006,-1244),(5006,-1316),(5039,-1379),(5098,-1420),(5170,-1429)],
  [(-3248,-1403),(-3200,-1350),(-3183,-1280),(-3200,-1210),(-3248,-1157),(-3315,-1131),(-3386,-1140),(-3445,-1181),(-3479,-1244),(-3479,-1316),(-3445,-1379),(-3386,-1420),(-3315,-1429)],
  [(-2642,-1403),(-2594,-1350),(-2577,-1280),(-2594,-1210),(-2642,-1157),(-2709,-1131),(-2780,-1140),(-2839,-1181),(-2873,-1244),(-2873,-1316),(-2839,-1379),(-2780,-1420),(-2709,-1429)],
  [(-3854,-1403),(-3806,-1350),(-3789,-1280),(-3806,-1210),(-3854,-1157),(-3921,-1131),(-3992,-1140),(-4051,-1181),(-4085,-1244),(-4085,-1316),(-4051,-1379),(-3992,-1420),(-3921,-1429)],
  [(-2036,-1403),(-1988,-1350),(-1971,-1280),(-1988,-1210),(-2036,-1157),(-2103,-1131),(-2174,-1140),(-2233,-1181),(-2267,-1244),(-2267,-1316),(-2233,-1379),(-2174,-1420),(-2103,-1429)],
  [(5843,-1403),(5891,-1350),(5908,-1280),(5891,-1210),(5843,-1157),(5776,-1131),(5705,-1140),(5645,-1181),(5612,-1244),(5612,-1316),(5645,-1379),(5705,-1420),(5776,-1429)],
  [(-1430,-1403),(-1382,-1350),(-1365,-1280),(-1382,-1210),(-1430,-1157),(-1497,-1131),(-1568,-1140),(-1627,-1181),(-1661,-1244),(-1661,-1316),(-1627,-1379),(-1568,-1420),(-1497,-1429)],
  [(-5066,-1403),(-5018,-1350),(-5001,-1280),(-5018,-1210),(-5066,-1157),(-5133,-1131),(-5204,-1140),(-5263,-1181),(-5297,-1244),(-5297,-1316),(-5263,-1379),(-5204,-1420),(-5133,-1429)],
  [(-824,-1403),(-776,-1350),(-759,-1280),(-776,-1210),(-824,-1157),(-891,-1131),(-962,-1140),(-1021,-1181),(-1054,-1244),(-1054,-1316),(-1021,-1379),(-962,-1420),(-891,-1429)],
  [(-5672,-1403),(-5624,-1350),(-5607,-1280),(-5624,-1210),(-5672,-1157),(-5739,-1131),(-5810,-1140),(-5869,-1181),(-5903,-1244),(-5903,-1316),(-5869,-1379),(-5810,-1420),(-5739,-1429)],
  [(-4460,-1403),(-4412,-1350),(-4395,-1280),(-4412,-1210),(-4460,-1157),(-4527,-1131),(-4598,-1140),(-4657,-1181),(-4691,-1244),(-4691,-1316),(-4657,-1379),(-4598,-1420),(-4527,-1429)],
  [(11294,-1439),(11339,-1383),(11354,-1313),(11334,-1244),(11285,-1192),(11217,-1169),(11146,-1180),(11088,-1223),(11057,-1288),(11060,-1359),(11095,-1422),(11156,-1460),(11227,-1467)],
  [(-11147,-1457),(-11089,-1415),(-11057,-1351),(-11059,-1279),(-11094,-1216),(-11154,-1177),(-11226,-1170),(-11292,-1197),(-11338,-1252),(-11354,-1322),(-11335,-1391),(-11286,-1444),(-11218,-1468)],
  [(8681,-1783),(8726,-1727),(8740,-1657),(8719,-1588),(8669,-1536),(8601,-1514),(8530,-1526),(8473,-1569),(8443,-1635),(8446,-1706),(8482,-1768),(8543,-1806),(8615,-1812)],
  [(-8535,-1803),(-8476,-1761),(-8444,-1697),(-8445,-1626),(-8479,-1563),(-8539,-1523),(-8610,-1515),(-8677,-1541),(-8724,-1596),(-8740,-1666),(-8722,-1735),(-8673,-1788),(-8606,-1813)],
  [(-10674,-1808),(-10630,-1751),(-10618,-1680),(-10640,-1612),(-10692,-1562),(-10760,-1541),(-10831,-1555),(-10887,-1600),(-10916,-1666),(-10910,-1737),(-10873,-1798),(-10811,-1835),(-10739,-1838)],
  [(10819,-1832),(10879,-1792),(10913,-1729),(10914,-1657),(10881,-1593),(10822,-1551),(10751,-1542),(10684,-1567),(10636,-1620),(10618,-1690),(10634,-1759),(10681,-1814),(10748,-1840)],
  [(-9027,-2036),(-8977,-1984),(-8958,-1915),(-8973,-1845),(-9019,-1790),(-9085,-1762),(-9157,-1769),(-9217,-1807),(-9252,-1870),(-9255,-1942),(-9223,-2006),(-9166,-2049),(-9095,-2060)],
  [(9174,-2045),(9229,-1999),(9256,-1933),(9250,-1861),(9211,-1801),(9148,-1766),(9076,-1764),(9012,-1795),(8969,-1853),(8959,-1924),(8982,-1992),(9035,-2041),(9104,-2060)],
  [(10322,-2053),(10372,-2002),(10393,-1933),(10380,-1863),(10336,-1806),(10270,-1777),(10198,-1782),(10137,-1819),(10100,-1881),(10096,-1952),(10126,-2018),(10183,-2062),(10253,-2074)],
  [(-10174,-2058),(-10120,-2010),(-10095,-1943),(-10103,-1872),(-10144,-1813),(-10207,-1779),(-10279,-1779),(-10343,-1812),(-10384,-1871),(-10393,-1942),(-10367,-2010),(-10314,-2057),(-10244,-2075)],
  [(9713,-2145),(9776,-2110),(9816,-2051),(9823,-1979),(9797,-1912),(9742,-1866),(9672,-1850),(9603,-1868),(9550,-1917),(9526,-1984),(9535,-2056),(9577,-2114),(9641,-2146)],
  [(-9633,-2144),(-9571,-2108),(-9532,-2047),(-9527,-1975),(-9555,-1909),(-9611,-1864),(-9681,-1850),(-9750,-1870),(-9802,-1920),(-9824,-1988),(-9813,-2059),(-9769,-2116),(-9704,-2147)])

lib.write_gds('check_pcb.gds')
